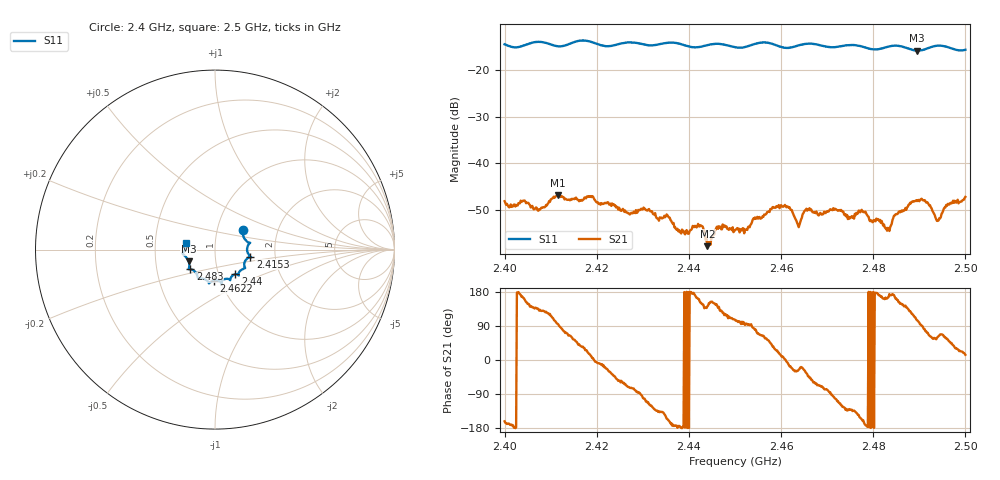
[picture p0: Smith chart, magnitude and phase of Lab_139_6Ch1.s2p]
# Hz S RI R 50
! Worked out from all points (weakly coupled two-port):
!   601 points, 2.4 GHz to 2.5 GHz, reference 50 ohm
!   highest |S21| = -46.82 dB at 2.4115 GHz (marker M1); lowest = -57.8 dB at 2.444 GHz (marker M2)
!   lowest |S11| = -15.9 dB at 2.4895 GHz (marker M3), VSWR 1.38, Z = 36.9 - j5 ohm
!   |S11| at or under -10 dB: start of sweep to end of sweep
!   S12 and S22 are empty: the file has one direction only
!   S11 on the Smith chart (normalised r, x): 2.4 GHz: 1.33, +0.29; 2.4153 GHz: 1.48, -0.12; 2.44 GHz: 1.20, -0.34; 2.4622 GHz: 0.93, -0.33; 2.483 GHz: 0.74, -0.17; 2.5 GHz: 0.72, +0.06
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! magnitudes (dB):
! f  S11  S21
! 2.4 GHz  -14.5  -48.1
! 2.4077 GHz  -14.0  -49.9
! 2.4115 GHz  -14.9  -46.8
! 2.4153 GHz  -14.0  -47.5
! 2.4167 GHz  -13.7  -47.9
! 2.4333 GHz  -14.6  -51.9
! 2.44 GHz  -15.0  -55.1
! 2.4425 GHz  -15.0  -53.3
! 2.444 GHz  -14.7  -57.8
! 2.4463 GHz  -14.4  -54.1
! 2.45 GHz  -15.1  -54.3
! 2.4587 GHz  -14.6  -49.5
! 2.4622 GHz  -15.2  -50.0
! 2.4637 GHz  -14.8  -53.2
! 2.4667 GHz  -14.4  -50.1
! 2.4778 GHz  -15.1  -50.5
! 2.483 GHz  -15.1  -54.5
! 2.4833 GHz  -15.0  -54.1
! 2.4895 GHz  -15.9  -48.1
! 2.4942 GHz  -14.8  -52.3
! 2.4958 GHz  -15.0  -49.0
! 2.5 GHz  -15.7  -47.2
